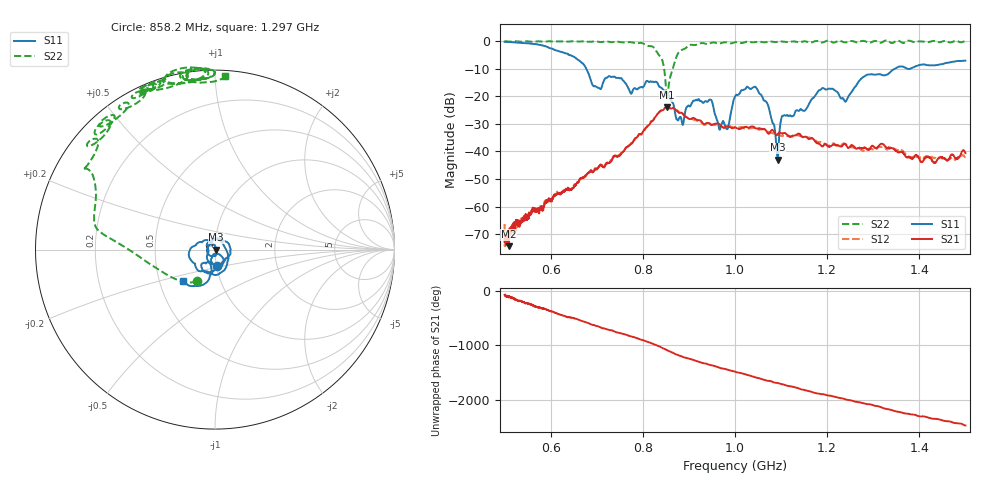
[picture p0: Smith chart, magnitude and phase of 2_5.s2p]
!Agilent Technologies,E8364B,US42250235,A.06.04.32
!Agilent E8364B: A.06.04.32
!Date: Thursday, October 01, 2020 16:05:21
!Correction: S11(Full 2 Port(1,2)) S21(Full 2 Port(1,2)) S12(Full 2 Port(1,2)) S22(Full 2 Port(1,2))
!S2P File: Measurements: S11, S21, S12, S22:
# Hz S  dB  R 50
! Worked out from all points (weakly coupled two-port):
!   2650 points, 500 MHz to 1.5 GHz, reference 50 ohm
!   highest |S21| = -24.01 dB at 852.6 MHz (marker M1); lowest = -74.3 dB at 508.7 MHz (marker M2)
!   lowest |S11| = -43.0 dB at 1.093 GHz (marker M3), VSWR 1.01, Z = 50.7 - j0.109 ohm
!   |S11| at or under -10 dB: 677.3 MHz to 1.347 GHz (670 MHz wide, 66.2 % of centre); 1.374332 GHz to 1.379835 GHz (5.503 MHz wide, 0.4 % of centre)
!   |S22| runs from -21.1 to 0.3 dB; largest |S21 - S12| = 0.0057
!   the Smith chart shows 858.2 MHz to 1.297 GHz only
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5e8  -0.22 -175.2  -72.69 -63.7  -66.28 -101.7  0.00 143.7
5.086825e8  -0.30 180.0  -74.33 -108.3  -70.09 -85.3  -0.16 143.8
5.898452e8  -1.90 126.2  -58.28 25.8  -57.73 36.1  -0.13 128.2
6.668554e8  -7.72 65.1  -49.68 177.1  -49.53 178.3  -0.08 125.1
7.046055e8  -16.92 77.4  -45.43 68.4  -45.45 71.8  -0.23 121.3
7.963382e8  -16.56 51.3  -33.64 -173.2  -33.95 -172.0  -0.63 98.6
8.337108e8  -15.95 -18.0  -26.08 70.8  -26.11 73.1  -4.80 53.7
8.525859e8  -19.14 -59.8  -24.01 -7.1  -23.97 -4.2  -21.08 -45.0
8.83541e8  -28.22 122.4  -25.94 -118.4  -26.04 -116.9  -3.25 167.7
9.458286e8  -21.18 -76.1  -30.05 78.9  -29.89 85.4  -0.78 129.4
9.824462e8  -31.88 -76.0  -30.86 -4.5  -31.40 1.7  -0.46 132.8
1.000189e9  -20.12 -67.0  -31.20 -45.9  -31.34 -40.0  -0.39 120.9
1.046244e9  -16.93 -176.8  -31.68 -153.9  -31.63 -147.2  -0.29 113.1
1.070781e9  -22.82 132.1  -33.30 146.9  -32.76 154.6  -0.22 109.6
1.092676e9  -42.97 -8.7  -33.71 106.3  -33.93 110.3  -0.19 110.7
1.104379e9  -27.11 -140.7  -33.45 79.0  -34.26 88.6  -0.16 115.7
1.166667e9  -20.98 -32.7  -35.25 -59.5  -35.07 -47.1  -0.46 101.7
1.240279e9  -21.90 -113.2  -37.42 160.7  -37.40 172.1  -0.43 94.1
1.281804e9  -12.67 -119.4  -38.58 84.6  -39.49 96.6  0.00 99.4
1.333522e9  -11.73 -144.6  -38.61 -21.2  -38.99 -7.1  -0.05 98.5
1.37165e9  -9.79 -173.8  -42.00 -100.5  -41.14 -95.8  -0.12 75.1
1.5e9  -7.07 139.1  -40.60 39.5  -42.03 32.4  0.13 72.5
